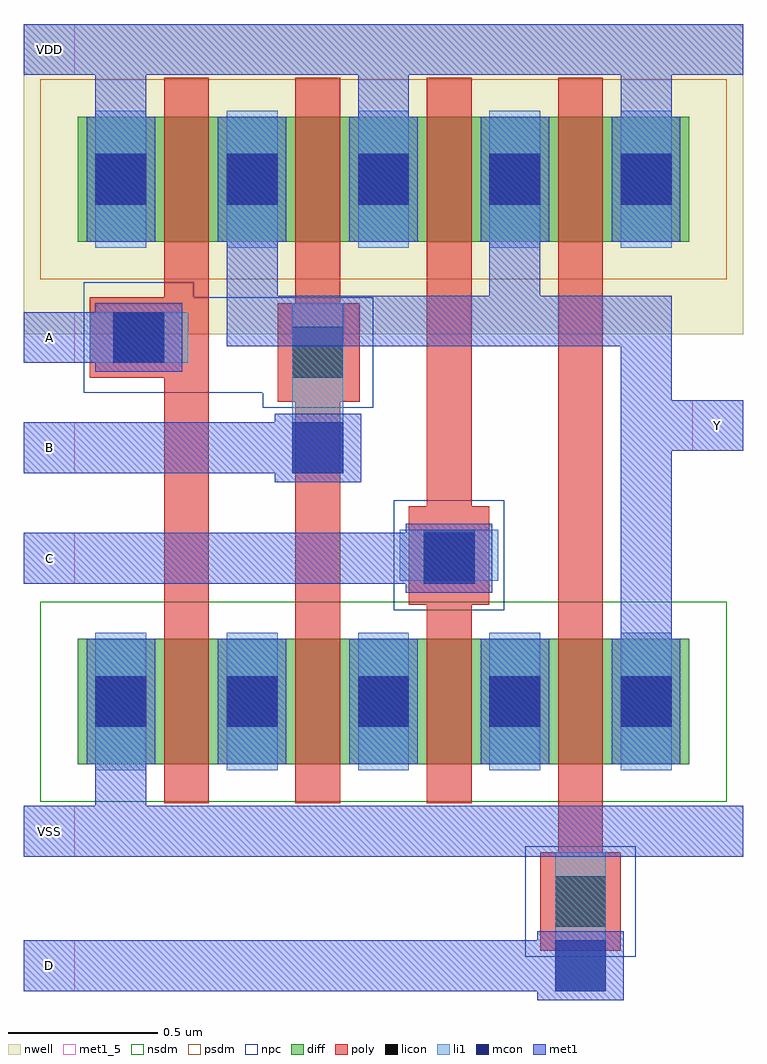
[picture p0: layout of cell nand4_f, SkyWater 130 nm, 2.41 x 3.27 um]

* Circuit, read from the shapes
.subckt nand4_f A B C D VDD VSS Y
XM1 n1 A VSS VSUBS sky130_fd_pr__nfet_01v8 w=0.42 l=0.15
XM2 n2 B n1 VSUBS sky130_fd_pr__nfet_01v8 w=0.42 l=0.15
XM3 n3 C n2 VSUBS sky130_fd_pr__nfet_01v8 w=0.42 l=0.15
XM4 Y D n3 VSUBS sky130_fd_pr__nfet_01v8 w=0.42 l=0.15
XM5 Y A VDD n4 sky130_fd_pr__pfet_01v8 w=0.42 l=0.15
XM6 VDD B Y n4 sky130_fd_pr__pfet_01v8 w=0.42 l=0.15
XM7 Y C VDD n4 sky130_fd_pr__pfet_01v8 w=0.42 l=0.15
XM8 VDD D Y n4 sky130_fd_pr__pfet_01v8 w=0.42 l=0.15
.ends

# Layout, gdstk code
import gdstk
lib = gdstk.Library(unit=1e-6, precision=5e-09)
def R(c, l, rs):  # rectangles x0, y0, x1, y1
    for r in rs: c.add(gdstk.rectangle(r[:2], r[2:], *l))
def A(c, l, x, y, w, h, nx, ny, dx, dy):  # array of equal rectangles
    R(c, l, [(x+i*dx, y+j*dy, x+i*dx+w, y+j*dy+h) for i in range(nx) for j in range(ny)])
nwell = (64, 20)
diff = (65, 20)
poly = (66, 20)
licon = (66, 44)
li1 = (67, 20)
mcon = (67, 44)
met1_5 = (68, 5)
met1 = (68, 20)
nsdm = (93, 44)
psdm = (94, 20)
npc = (95, 20)

nand4_f = lib.new_cell('nand4_f')
R(nand4_f, nwell, [(0,2.44,2.41,3.48)])
R(nand4_f, diff, [(0.18,1,2.23,1.42), (0.18,2.75,2.23,3.17)])
R(nand4_f, poly, [(1.73,0.375,2,0.705), (1.79,0.705,1.94,3.3), (0.47,0.87,0.62,2.295), (0.91,0.87,1.06,2.215), (1.35,0.87,1.5,1.535), (1.29,1.535,1.56,1.865), (1.35,1.865,1.5,3.3), (0.85,2.215,1.125,2.545), (0.22,2.295,0.62,2.565), (0.91,2.545,1.06,3.3), (0.47,2.565,0.62,3.3)])
A(nand4_f, licon, 0.24, 1.125, 0.17, 0.17, 5, 2, 0.44, 1.75)
R(nand4_f, licon, [(1.78,0.455,1.95,0.625), (1.34,1.615,1.51,1.785), (0.9,2.295,1.07,2.465), (0.3,2.345,0.47,2.515)])
A(nand4_f, li1, 0.24, 0.98, 0.17, 0.46, 5, 2, 0.44, 1.75)
R(nand4_f, li1, [(1.78,0.24,1.95,0.705), (1.34,1.605,1.51,1.615), (1.26,1.615,1.59,1.785), (0.9,1.975,1.07,2.545), (0.22,2.345,0.55,2.515)])
A(nand4_f, mcon, 0.24, 1.125, 0.17, 0.17, 5, 2, 0.44, 1.75)
R(nand4_f, mcon, [(1.78,0.24,1.95,0.41), (1.34,1.605,1.51,1.775), (0.9,1.975,1.07,2.145), (0.3,2.345,0.47,2.515)])
A(nand4_f, met1_5, 0, 1.605, 0.17, 0.17, 1, 3, 0, 0.37)
R(nand4_f, met1_5, [(0,0.24,0.17,0.41), (0,0.69,0.17,0.86), (2.24,2.05,2.41,2.22), (0,3.31,0.17,3.48)])
A(nand4_f, met1, 0.21, 1, 0.23, 0.42, 5, 2, 0.44, 1.75)
A(nand4_f, met1, 0.24, 3.17, 0.17, 0.14, 3, 1, 0.88, 0)
R(nand4_f, met1, [(1.72,0.21,2.01,0.24), (0,0.24,2.01,0.41), (1.72,0.41,2.01,0.44), (0,0.69,2.41,0.86), (0.24,0.86,0.41,1), (2,1.42,2.17,2.05), (1.28,1.575,1.57,1.605), (0,1.605,1.57,1.775), (1.28,1.775,1.57,1.805), (0.84,1.945,1.13,1.975), (0,1.975,1.13,2.145), (2,2.05,2.41,2.22), (0.84,2.145,1.13,2.175), (2,2.22,2.17,2.4), (0.24,2.315,0.53,2.345), (0,2.345,0.53,2.515), (0.68,2.4,2.17,2.57), (0.24,2.515,0.53,2.545), (0.68,2.57,0.85,2.75), (1.56,2.57,1.73,2.75), (0,3.31,2.41,3.48)])
R(nand4_f, nsdm, [(0.055,0.875,2.355,1.545)])
R(nand4_f, psdm, [(0.055,2.625,2.355,3.295)])
R(nand4_f, npc, [(1.68,0.355,2.05,0.725), (1.24,1.515,1.61,1.885), (0.8,2.195,1.17,2.245), (0.2,2.245,1.17,2.565), (0.2,2.565,0.57,2.615)])
nand4_f.add(gdstk.Label('VDD', (0.085,3.395), layer=68, texttype=5))
nand4_f.add(gdstk.Label('A', (0.085,2.43), layer=68, texttype=5))
nand4_f.add(gdstk.Label('B', (0.085,2.06), layer=68, texttype=5))
nand4_f.add(gdstk.Label('C', (0.085,1.69), layer=68, texttype=5))
nand4_f.add(gdstk.Label('VSS', (0.085,0.775), layer=68, texttype=5))
nand4_f.add(gdstk.Label('D', (0.085,0.325), layer=68, texttype=5))
nand4_f.add(gdstk.Label('Y', (2.325,2.135), layer=68, texttype=5))

lib.write_gds('nand4_f.gds')
